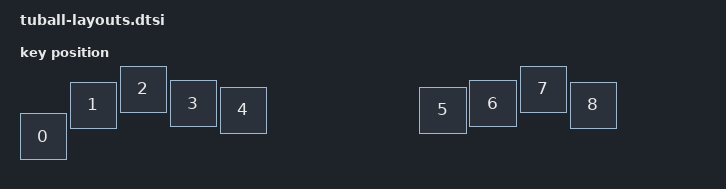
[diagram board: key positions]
#include <physical_layouts.dtsi>

/ {
    physical_layout0: physical_layout_0 {
        compatible = "zmk,physical-layout";
        transform = <&default_transform>;
        display-name = "Base";

        keys  //                     w   h    x    y     rot    rx    ry
            = <&key_physical_attrs 100 100    0   95       0     0     0>
            , <&key_physical_attrs 100 100  100   32       0     0     0>
            , <&key_physical_attrs 100 100  200    0       0     0     0>
            , <&key_physical_attrs 100 100  300   29       0     0     0>
            , <&key_physical_attrs 100 100  400   42       0     0     0>
            , <&key_physical_attrs 100 100  800   42       0     0     0>
            , <&key_physical_attrs 100 100  900   29       0     0     0>
            , <&key_physical_attrs 100 100 1000    0       0     0     0>
            , <&key_physical_attrs 100 100 1100   32       0     0     0>
            ;
    };
};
